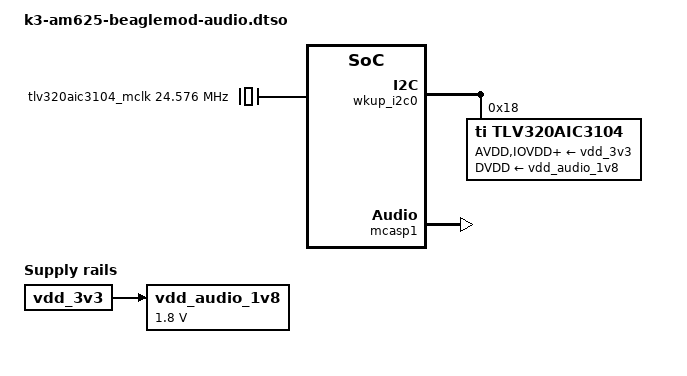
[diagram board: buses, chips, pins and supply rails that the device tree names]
// SPDX-License-Identifier: GPL-2.0
/*
 * Copyright (C) 2022 Texas Instruments Incorporated - https://www.ti.com/
 */

/dts-v1/;
/plugin/;

#include "k3-pinctrl.h"

/*
 * Helper to show loaded overlays under: /proc/device-tree/chosen/overlays/
 */
&{/chosen} {
	overlays {
		k3-am625-beaglemod-audio.kernel = __TIMESTAMP__;
	};
};

&{/} {
	tlv320aic3104_mclk: tlv320aic3104_mclk {
		#clock-cells = <0>;
		compatible = "fixed-clock";
		clock-frequency = <24576000>;
	};

	sound {
		compatible = "simple-audio-card";
		simple-audio-card,format = "i2s";
		simple-audio-card,name = "beaglemod voice";
		simple-audio-card,bitclock-master = <&dailink0_master>;
		simple-audio-card,frame-master = <&dailink0_master>;
		status = "okay";

		simple-audio-card,widgets =
			"Headphone", "Headphone Jack",
			"Line", "Line In";
		simple-audio-card,routing =
			"Headphone Jack",       "HPLOUT",
			"Headphone Jack",       "HPROUT",
			"LINE1L",               "Line In",
			"LINE1R",               "Line In";
		dailink0_master: simple-audio-card,cpu {
			sound-dai = <&mcasp1>;
			system-clock-direction-out;
		};
		simple-audio-card,codec {
			sound-dai = <&tlv320aic3104>;
			clocks = <&tlv320aic3104_mclk>;
		};
	};

	vdd_audio_1v8: regulator-audio {
		compatible = "regulator-fixed";
		regulator-name = "vdd_audio_1v8";
		regulator-min-microvolt = <1800000>;
		regulator-max-microvolt = <1800000>;
		vin-supply = <&vdd_3v3>;
		regulator-always-on;
		regulator-boot-on;
	};
};

&wkup_i2c0 {
	#address-cells = <1>;
	#size-cells = <0>;
	status = "okay";

	tlv320aic3104: tlv320aic3104@18 {
		#sound-dai-cells = <0>;
		compatible = "ti,tlv320aic3104";
		reg = <0x18>;
		status = "okay";

		ai3x-micbias-vg = <2>; // set MICBIAS to 2.5v
		AVDD-supply = <&vdd_3v3>;
		IOVDD-supply = <&vdd_3v3>;
		DRVDD-supply = <&vdd_3v3>;
		DVDD-supply = <&vdd_audio_1v8>;
	};
};

&mcasp1 {
	status = "okay";

	serial-dir = <  /* 0: INACTIVE, 1: TX, 2: RX */
	       2 1 0 0
	       0 0 0 0
	       0 0 0 0
	       0 0 0 0
	>;
};
